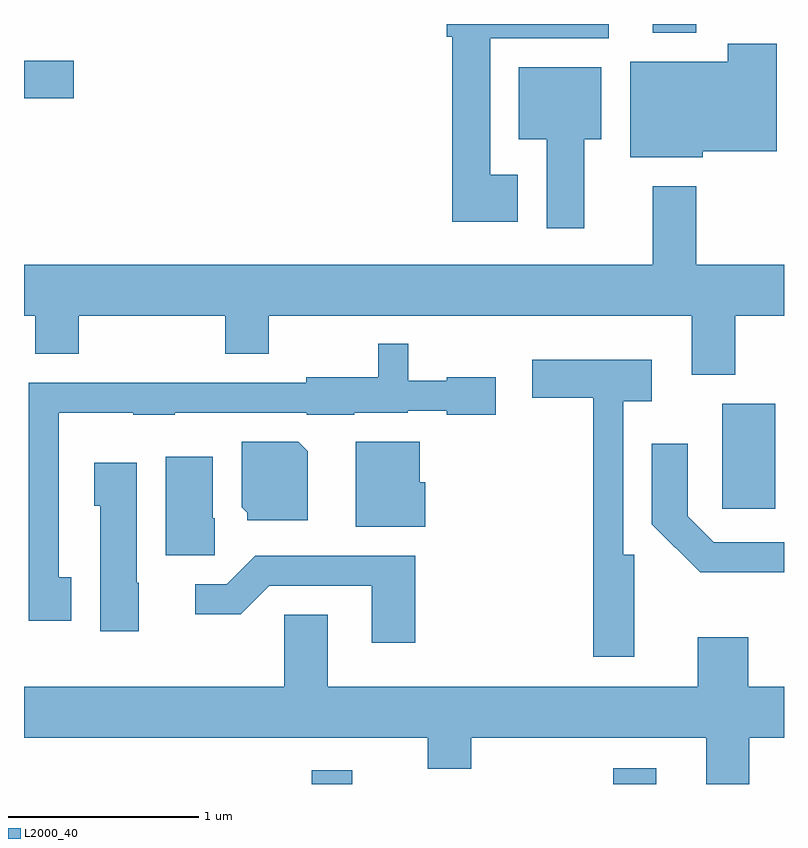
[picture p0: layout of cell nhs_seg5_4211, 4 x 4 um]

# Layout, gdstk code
import gdstk
lib = gdstk.Library(unit=1e-6, precision=1e-09)
def R(c, l, rs):  # rectangles x0, y0, x1, y1
    for r in rs: c.add(gdstk.rectangle(r[:2], r[2:], *l))
def P(c, l, *ps):  # polygons
    for p in ps: c.add(gdstk.Polygon(p, *l))
L2000_40 = (2000, 40)

nhs_seg5_4211 = lib.new_cell('nhs_seg5_4211')
R(nhs_seg5_4211, L2000_40, [(311.126,1492.072,311.339,1492.144), (312.711,1492.072,312.939,1492.154), (313.286,1493.521,313.564,1494.074), (309.611,1495.681,309.874,1495.879), (312.921,1496.026,313.149,1496.072)])
P(nhs_seg5_4211, L2000_40, [(312.209,1495.279),(312.064,1495.279),(312.064,1495.996),(312.689,1495.996),(312.689,1496.072),(311.836,1496.072),(311.836,1496.006),(311.866,1496.006),(311.866,1495.031),(312.209,1495.031)],
  [(313.184,1495.401),(313.574,1495.401),(313.574,1495.969),(313.316,1495.969),(313.316,1495.874),(312.801,1495.874),(312.801,1495.371),(313.184,1495.371)],
  [(312.559,1495.466),(312.649,1495.466),(312.649,1495.844),(312.216,1495.844),(312.216,1495.466),(312.361,1495.466),(312.361,1494.996),(312.559,1494.996)],
  [(313.354,1494.536),(313.611,1494.536),(313.611,1494.804),(313.149,1494.804),(313.149,1495.219),(312.921,1495.219),(312.921,1494.804),(309.611,1494.804),(309.611,1494.536),(309.671,1494.536),(309.671,1494.336),(309.899,1494.336),(309.899,1494.536),(310.671,1494.536),(310.671,1494.336),(310.899,1494.336),(310.899,1494.536),(313.126,1494.536),(313.126,1494.226),(313.354,1494.226)],
  [(309.859,1493.159),(309.794,1493.159),(309.794,1494.026),(310.185,1494.026),(310.185,1494.016),(310.405,1494.016),(310.405,1494.026),(311.1,1494.026),(311.1,1494.016),(311.35,1494.016),(311.35,1494.026),(311.63,1494.026),(311.63,1494.036),(311.836,1494.036),(311.836,1494.016),(312.094,1494.016),(312.094,1494.214),(311.836,1494.214),(311.836,1494.194),(311.634,1494.194),(311.634,1494.388),(311.476,1494.388),(311.476,1494.214),(311.096,1494.214),(311.096,1494.184),(309.636,1494.184),(309.636,1492.931),(309.859,1492.931)],
  [(312.824,1493.279),(312.764,1493.279),(312.764,1494.086),(312.914,1494.086),(312.914,1494.304),(312.286,1494.304),(312.286,1494.106),(312.606,1494.106),(312.606,1492.741),(312.824,1492.741)],
  [(311.104,1493.824),(311.054,1493.874),(310.756,1493.874),(310.756,1493.529),(310.786,1493.499),(310.786,1493.461),(311.104,1493.461)],
  [(311.724,1493.659),(311.694,1493.659),(311.694,1493.874),(311.356,1493.874),(311.356,1493.426),(311.724,1493.426)],
  [(313.611,1493.344),(313.242,1493.344),(313.104,1493.482),(313.104,1493.864),(312.916,1493.864),(312.916,1493.439),(313.169,1493.186),(313.611,1493.186)],
  [(310.614,1493.47),(310.604,1493.47),(310.604,1493.794),(310.356,1493.794),(310.356,1493.276),(310.614,1493.276)],
  [(310.214,1493.13),(310.204,1493.13),(310.204,1493.764),(309.981,1493.764),(309.981,1493.536),(310.011,1493.536),(310.011,1492.876),(310.214,1492.876)],
  [(311.669,1493.274),(310.829,1493.274),(310.679,1493.124),(310.513,1493.124),(310.513,1492.966),(310.752,1492.966),(310.902,1493.116),(311.441,1493.116),(311.441,1492.816),(311.669,1492.816)],
  [(313.429,1492.316),(313.611,1492.316),(313.611,1492.584),(313.424,1492.584),(313.424,1492.844),(313.156,1492.844),(313.156,1492.584),(311.209,1492.584),(311.209,1492.964),(310.981,1492.964),(310.981,1492.584),(309.611,1492.584),(309.611,1492.316),(311.736,1492.316),(311.736,1492.151),(311.964,1492.151),(311.964,1492.316),(313.201,1492.316),(313.201,1492.072),(313.429,1492.072)])

lib.write_gds('nhs_seg5_4211.gds')
